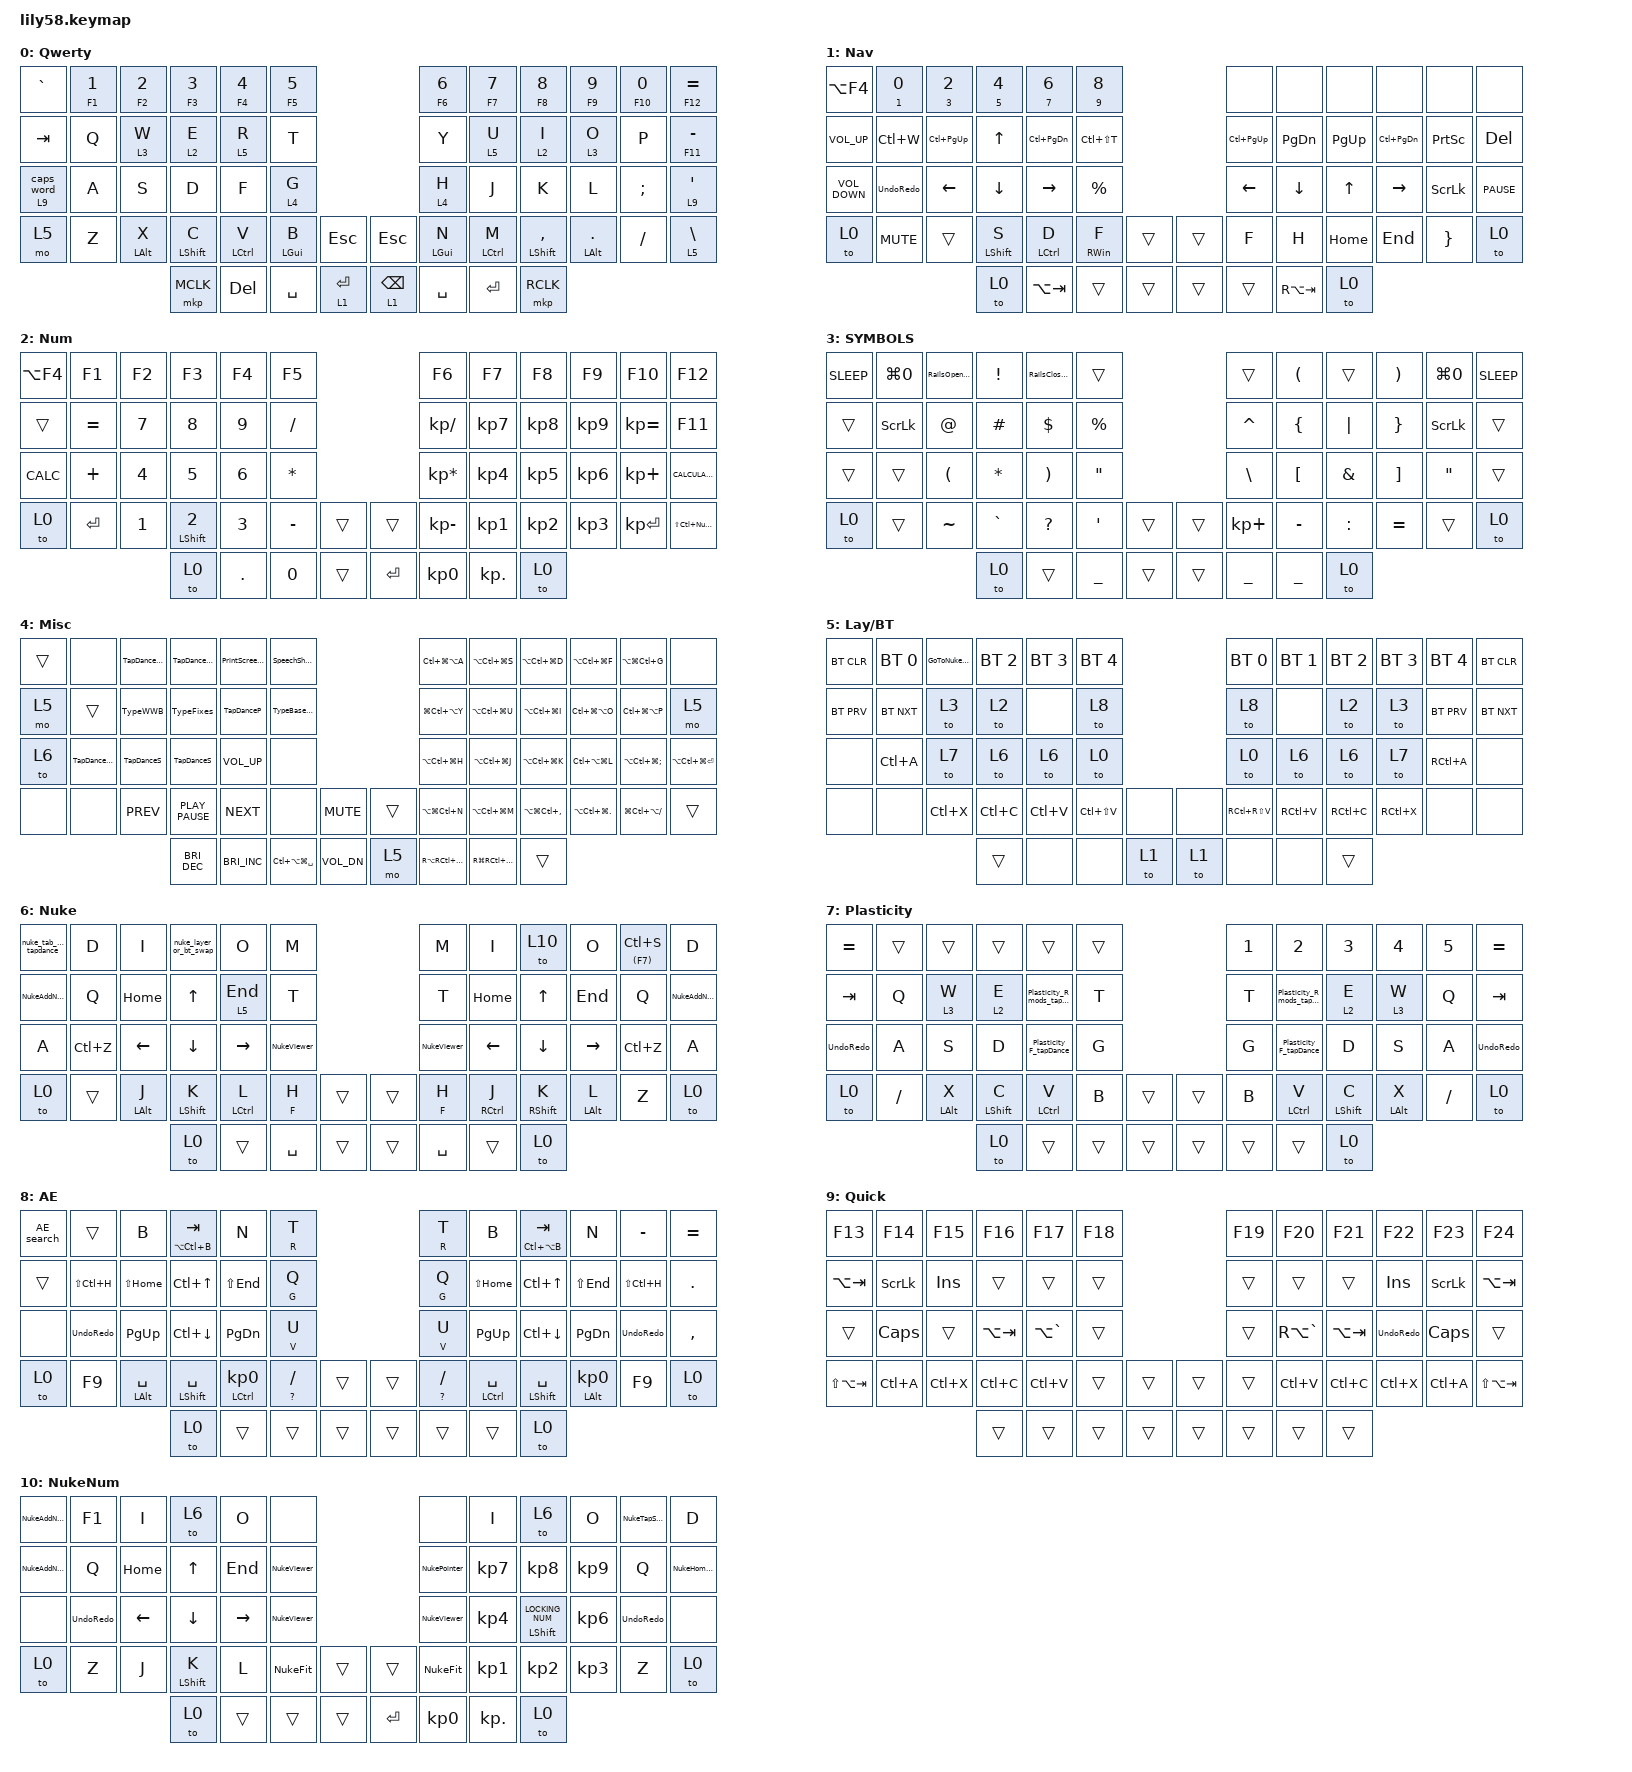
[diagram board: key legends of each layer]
/*
 * Copyright (c) 2020 The ZMK Contributors
 *
 * SPDX-License-Identifier: MIT
 */

#include <behaviors.dtsi>
#include <dt-bindings/zmk/bt.h>
#include <dt-bindings/zmk/keys.h>
#include <dt-bindings/zmk/pointing.h>

&mt {
    flavor = "tap-preferred";
    tapping-term-ms = <150>;
};

/ {
    behaviors {
        DualKey: DualKey {
            compatible = "zmk,behavior-hold-tap";
            label = "DUALKEY";
            bindings = <&mo>, <&kp>;

            #binding-cells = <2>;
            tapping-term-ms = <200>;
            flavor = "tap-preferred";
        };

        DoubleNum01: DoubleNum01 {
            compatible = "zmk,behavior-tap-dance";
            label = "DOUBLENUM01";
            #binding-cells = <0>;
            bindings = <&kp N0>, <&kp NUMBER_1>;
        };

        DoubleNum23: DoubleNum23 {
            compatible = "zmk,behavior-tap-dance";
            label = "DOUBLENUM23";
            #binding-cells = <0>;
            bindings = <&kp NUMBER_2>, <&kp NUMBER_3>;
        };

        TapDanceS: TapDanceS {
            compatible = "zmk,behavior-tap-dance";
            label = "TAPDANCES";
            #binding-cells = <0>;
            bindings = <&TypeString>, <&TypeSyncopotamus>;
        };

        TapDanceEmail: TapDanceEmail {
            compatible = "zmk,behavior-tap-dance";
            label = "TAPDANCEEMAIL";
            #binding-cells = <0>;
            bindings =
                <&TypesNoisycarlosHey>,
                <&TypeCarlosKPEmail>,
                <&TypesAccountsKP>;
        };

        TapDanceD: TapDanceD {
            compatible = "zmk,behavior-tap-dance";
            label = "TAPDANCED";
            #binding-cells = <0>;
            bindings = <&TypeDeletes>, <&TypeDatabase>;
        };

        TapDanceR: TapDanceR {
            compatible = "zmk,behavior-tap-dance";
            label = "TAPDANCER";
            #binding-cells = <0>;
            bindings = <&TypesRails>, <&TypeReturn>, <&TypeRefactor>;
        };

        TapDanceP: TapDanceP {
            compatible = "zmk,behavior-tap-dance";
            label = "TAPDANCEP";
            #binding-cells = <0>;
            bindings = <&TypeUpdates>, <&TypeImplements>;
        };

        TapDanceNoisycarlos: TapDanceNoisycarlos {
            compatible = "zmk,behavior-tap-dance";
            label = "TAPDANCENOISYCARLOS";
            #binding-cells = <0>;
            bindings = <&TypeNoisycarlos>, <&Full_GiteaPath>, <&TypeGithub>;
        };

        UndoRedo: UndoRedo {
            compatible = "zmk,behavior-tap-dance";
            label = "UNDOREDO";
            #binding-cells = <0>;
            bindings = <&kp LC(Z)>, <&kp LC(LS(Z))>, <&kp LC(Y)>;
        };

        DoubleNum45: DoubleNum45 {
            compatible = "zmk,behavior-tap-dance";
            label = "DOUBLENUM45";
            #binding-cells = <0>;
            bindings = <&kp NUMBER_4>, <&kp N5>;
        };

        DoubleNum67: DoubleNum67 {
            compatible = "zmk,behavior-tap-dance";
            label = "DOUBLENUM67";
            #binding-cells = <0>;
            bindings = <&kp NUMBER_6>, <&kp N7>;
        };

        DoubleNum89: DoubleNum89 {
            compatible = "zmk,behavior-tap-dance";
            label = "DOUBLENUM89";
            #binding-cells = <0>;
            bindings = <&kp N8>, <&kp N9>;
        };

        SwitchWindow: SwitchWindow {
            compatible = "zmk,behavior-tap-dance";
            label = "SWITCHWINDOW";
            #binding-cells = <0>;
            bindings = <&kp LEFT_GUI>, <&kp LA(TAB)>;
        };

        NukeViewer: NukeViewer {
            compatible = "zmk,behavior-tap-dance";
            label = "NUKEVIEWER";
            #binding-cells = <0>;
            bindings = <&kp NUMBER_1>, <&kp NUMBER_2>, <&kp NUMBER_3>;
        };

        VimDeleteTapDance: VimDeleteTapDance {
            compatible = "zmk,behavior-tap-dance";
            label = "VIMDELETETAPDANCE";
            #binding-cells = <0>;
            bindings = <&kp LC(X)>, <&VimDeleteLine>;
        };

        VimYank: VimYank {
            compatible = "zmk,behavior-tap-dance";
            label = "VIMYANK";
            #binding-cells = <0>;
            bindings = <&kp LC(C)>, <&VimYankLine>;
        };

        DualLayer: DualLayer {
            compatible = "zmk,behavior-hold-tap";
            label = "DUALLAYER";
            bindings = <&mo>, <&to>;

            #binding-cells = <2>;
            tapping-term-ms = <200>;
            flavor = "tap-preferred";
        };

        VimDeleteHoldDoubleTap: VimDeleteHoldDoubleTap {
            compatible = "zmk,behavior-hold-tap";
            label = "VIMDELETEHOLDDOUBLETAP";
            bindings = <&mo>, <&VimDeleteTapDance>;

            #binding-cells = <2>;
            tapping-term-ms = <200>;
            flavor = "tap-preferred";
        };

        CopyCutTapDance: CopyCutTapDance {
            compatible = "zmk,behavior-tap-dance";
            label = "COPYCUTTAPDANCE";
            #binding-cells = <0>;
            bindings = <&kp LC(C)>, <&kp LC(X)>;
        };

        TapDanceTypeA: TapDanceTypeA {
            compatible = "zmk,behavior-tap-dance";
            label = "TAPDANCETYPEA";
            #binding-cells = <0>;
            bindings = <&TypeAdds>, <&TypesAdjusts>;
        };

        PasteSelectAllTapDance: PasteSelectAllTapDance {
            compatible = "zmk,behavior-tap-dance";
            label = "PASTESELECTALLTAPDANCE";
            #binding-cells = <0>;
            bindings = <&kp LC(V)>, <&kp LC(A)>;
        };

        NumFn1: NumFn1 {
            compatible = "zmk,behavior-tap-dance";
            label = "NUMFN1";
            #binding-cells = <0>;
            bindings = <&kp NUMBER_1>, <&kp F1>;
        };

        NumFn2: NumFn2 {
            compatible = "zmk,behavior-tap-dance";
            label = "NUMFN2";
            #binding-cells = <0>;
            bindings = <&kp NUMBER_2>, <&kp F2>;
        };

        NumFn3: NumFn3 {
            compatible = "zmk,behavior-tap-dance";
            label = "NUMFN3";
            #binding-cells = <0>;
            bindings = <&kp NUMBER_3>, <&kp F3>;
        };

        NumFn4: NumFn4 {
            compatible = "zmk,behavior-tap-dance";
            label = "NUMFN4";
            #binding-cells = <0>;
            bindings = <&kp NUMBER_4>, <&kp F4>;
        };

        NumFn5: NumFn5 {
            compatible = "zmk,behavior-tap-dance";
            label = "NUMFN5";
            #binding-cells = <0>;
            bindings = <&kp NUMBER_5>, <&kp F5>;
        };

        NumFn6: NumFn6 {
            compatible = "zmk,behavior-tap-dance";
            label = "NUMFN6";
            #binding-cells = <0>;
            bindings = <&kp NUMBER_6>, <&kp F6>;
        };

        NumFn7: NumFn7 {
            compatible = "zmk,behavior-tap-dance";
            label = "NUMFN7";
            #binding-cells = <0>;
            bindings = <&kp NUMBER_7>, <&kp F7>;
        };

        NumFn8: NumFn8 {
            compatible = "zmk,behavior-tap-dance";
            label = "NUMFN8";
            #binding-cells = <0>;
            bindings = <&kp NUMBER_8>, <&kp F8>;
        };

        NumFn9: NumFn9 {
            compatible = "zmk,behavior-tap-dance";
            label = "NUMFN9";
            #binding-cells = <0>;
            bindings = <&kp NUMBER_9>, <&kp F9>;
        };

        NumFn10: NumFn10 {
            compatible = "zmk,behavior-tap-dance";
            label = "NUMFN10";
            #binding-cells = <0>;
            bindings = <&kp NUMBER_0>, <&kp F10>;
        };

        NumFn11: NumFn11 {
            compatible = "zmk,behavior-tap-dance";
            label = "NUMFN11";
            #binding-cells = <0>;
            bindings = <&kp MINUS>, <&kp F11>;
        };

        NumFn12: NumFn12 {
            compatible = "zmk,behavior-tap-dance";
            label = "NUMFN12";
            #binding-cells = <0>;
            bindings = <&kp EQUAL>, <&kp F12>;
        };

        RailsOpenTagTap: RailsOpenTagTap {
            compatible = "zmk,behavior-tap-dance";
            label = "RAILSOPENTAGTAP";
            #binding-cells = <0>;
            bindings = <&RailsOpenTag>, <&RailsOpenTagContent>, <&RailsComment>;
        };

        CapsWordOrLayer: CapsWordOrLayer {
            compatible = "zmk,behavior-hold-tap";
            label = "CAPSWORDORLAYER";
            bindings = <&mo>, <&caps_word>;

            #binding-cells = <2>;
            tapping-term-ms = <200>;
        };

        NukePointer: NukePointer {
            compatible = "zmk,behavior-tap-dance";
            label = "NUKEPOINTER";
            #binding-cells = <0>;
            bindings = <&kp S>, <&kp V>, <&kp N>, <&kp C>;
        };

        TapDanceC: TapDanceC {
            compatible = "zmk,behavior-tap-dance";
            label = "TAPDANCEC";
            #binding-cells = <0>;
            bindings = <&TypeCarlos>, <&TypeClear>;
        };

        AEPointer: AEPointer {
            compatible = "zmk,behavior-tap-dance";
            label = "AEPOINTER";
            #binding-cells = <0>;
            bindings = <&kp V>, <&kp G>, <&kp Q>;
        };

        NukeAddNodeDance: NukeAddNodeDance {
            compatible = "zmk,behavior-tap-dance";
            label = "NUKEADDNODEDANCE";
            #binding-cells = <0>;
            bindings = <&kp TAB>, <&NukeAddNode>, <&DoubleTab>;
        };

        NukeTapSaveRender: NukeTapSaveRender {
            compatible = "zmk,behavior-tap-dance";
            label = "NUKETAPSAVERENDER";
            #binding-cells = <0>;
            bindings = <&kp LC(S)>, <&kp F7>;
        };

        NukeFit: NukeFit {
            compatible = "zmk,behavior-tap-dance";
            label = "NUKEFIT";
            #binding-cells = <0>;
            bindings = <&kp H>, <&kp F>;
        };

        NukeHomeEnd: NukeHomeEnd {
            compatible = "zmk,behavior-tap-dance";
            label = "NUKEHOMEEND";
            #binding-cells = <0>;
            bindings = <&kp HOME>, <&kp END>;
        };

        Plasticity_R_mods_tap_dance: Plasticity_R_mods_tap_dance {
            compatible = "zmk,behavior-tap-dance";
            label = "PLASTICITY_R_MODS_TAP_DANCE";
            #binding-cells = <0>;
            bindings = <&kp R>, <&kp LS(R)>, <&kp LS(LA(R))>;
        };

        Plasticity_F_tapDance: Plasticity_F_tapDance {
            compatible = "zmk,behavior-tap-dance";
            label = "PLASTICITY_F_TAPDANCE";
            #binding-cells = <0>;
            bindings = <&kp F>, <&Plasticity_Find>;
        };

        PrintScreenTapDance: PrintScreenTapDance {
            compatible = "zmk,behavior-tap-dance";
            label = "PRINTSCREENTAPDANCE";
            #binding-cells = <0>;
            bindings =
                <&kp PRINTSCREEN>,
                <&kp LC(PRINTSCREEN)>,
                <&kp LA(PRINTSCREEN)>;
        };

        SpeechShortcuts: SpeechShortcuts {
            compatible = "zmk,behavior-tap-dance";
            label = "SPEECHSHORTCUTS";
            #binding-cells = <0>;
            bindings = <&kp LC(LS(F3))>, <&kp LA(LS(F3))>, <&kp LS(LC(F2))>;
        };

        GoToNukeMachineTap: GoToNukeMachineTap {
            compatible = "zmk,behavior-tap-dance";
            label = "GOTONUKEMACHINETAP";
            #binding-cells = <0>;
            bindings = <&bt BT_SEL 1>, <&Goto_Nuke_Machine>;
        };

        nuke_tab_backdrop_tapdance: nuke_tab_backdrop_tapdance {
            compatible = "zmk,behavior-tap-dance";
            label = "NUKE_TAB_BACKDROP_TAPDANCE";
            #binding-cells = <0>;
            bindings = <&NukeAddNode>, <&nuke_backdrop>;
        };

        nuke_layer_or_bt_swap: nuke_layer_or_bt_swap {
            compatible = "zmk,behavior-tap-dance";
            label = "NUKE_LAYER_OR_BT_SWAP";
            #binding-cells = <0>;
            bindings = <&to 10>, <&switch_bt_profile_2>, <&switch_profile_0>;
        };
    };

    macros {
        TypeDeletes: TypeDeletes {
            compatible = "zmk,behavior-macro";
            #binding-cells = <0>;
            bindings = <&none &kp D &kp E &kp L &kp E &kp T &kp E &kp S>;
            label = "TYPEDELETES";
        };

        TypeDatabase: TypeDatabase {
            compatible = "zmk,behavior-macro";
            #binding-cells = <0>;
            bindings = <&none &kp D &kp A &kp T &kp A &kp B &kp A &kp S &kp E>;
            label = "TYPEDATABASE";
        };

        TypeString: TypeString {
            compatible = "zmk,behavior-macro";
            #binding-cells = <0>;
            bindings = <&none &kp S &kp T &kp R &kp I &kp N &kp G>;
            label = "TYPESTRING";
        };

        TypeSyncopotamus: TypeSyncopotamus {
            compatible = "zmk,behavior-macro";
            #binding-cells = <0>;
            bindings = <&none &kp RS(S) &kp Y &kp N &kp C &kp O &kp P &kp O &kp T &kp A &kp M &kp U &kp S>;
            label = "TYPESYNCOPOTAMUS";
        };

        TypeReturn: TypeReturn {
            compatible = "zmk,behavior-macro";
            #binding-cells = <0>;
            bindings = <&none &kp R &kp E &kp T &kp U &kp R &kp N>;
            label = "TYPERETURN";
        };

        TypeRefactor: TypeRefactor {
            compatible = "zmk,behavior-macro";
            #binding-cells = <0>;
            bindings = <&none &kp R &kp E &kp F &kp A &kp C &kp T &kp O &kp R>;
            label = "TYPEREFACTOR";
        };

        TypeAdds: TypeAdds {
            compatible = "zmk,behavior-macro";
            #binding-cells = <0>;
            bindings = <&none &kp A &kp D &kp D &kp S>;
            label = "TYPEADDS";
        };

        TypeWWB: TypeWWB {
            compatible = "zmk,behavior-macro";
            #binding-cells = <0>;
            bindings = <&none &kp LS(W) &kp LS(W) &kp LS(B) &kp UNDER>;
            label = "TYPEWWB";
        };

        TypeFixes: TypeFixes {
            compatible = "zmk,behavior-macro";
            #binding-cells = <0>;
            bindings = <&none &kp F &kp I &kp X &kp E &kp S>;
            label = "TYPEFIXES";
        };

        TypeImplements: TypeImplements {
            compatible = "zmk,behavior-macro";
            #binding-cells = <0>;
            bindings = <&none &kp I &kp M &kp P &kp L &kp E &kp M &kp E &kp N &kp T &kp S>;
            label = "TYPEIMPLEMENTS";
        };

        TypeUpdates: TypeUpdates {
            compatible = "zmk,behavior-macro";
            #binding-cells = <0>;
            bindings = <&none &kp U &kp P &kp D &kp A &kp T &kp E &kp S>;
            label = "TYPEUPDATES";
        };

        TypeBasecamp: TypeBasecamp {
            compatible = "zmk,behavior-macro";
            #binding-cells = <0>;
            bindings = <&none &kp LS(B) &kp A &kp S &kp E &kp C &kp A &kp M &kp P>;
            label = "TYPEBASECAMP";
        };

        TypesNoisycarlosHey: TypesNoisycarlosHey {
            compatible = "zmk,behavior-macro";
            #binding-cells = <0>;
            bindings = <&none &kp N &kp O &kp I &kp S &kp Y &kp C &kp A &kp R &kp L &kp O &kp S &kp AT &kp H &kp E &kp Y &kp DOT &kp C &kp O &kp M>;
            label = "TYPESNOISYCARLOSHEY";
        };

        TypeCarlosKPEmail: TypeCarlosKPEmail {
            compatible = "zmk,behavior-macro";
            #binding-cells = <0>;
            bindings = <&none &kp C &kp A &kp R &kp L &kp O &kp S &kp AT &kp K &kp I &kp N &kp E &kp T &kp I &kp C &kp P &kp O &kp R &kp T &kp A &kp L &kp DOT &kp C &kp O &kp M>;
            label = "TYPECARLOSKPEMAIL";
        };

        TypeNoisycarlos: TypeNoisycarlos {
            compatible = "zmk,behavior-macro";
            #binding-cells = <0>;
            bindings = <&kp N &kp O &kp I &kp S &kp Y &kp C &kp A &kp R &kp L &kp O &kp S>;
            label = "TYPENOISYCARLOS";
        };

        TypeGithub: TypeGithub {
            compatible = "zmk,behavior-macro";
            #binding-cells = <0>;
            bindings = <&kp H &kp T &kp T &kp P &kp S &kp COLON &kp FSLH &kp FSLH &kp G &kp I &kp T &kp H &kp U &kp B &kp DOT &kp C &kp O &kp M &kp FSLH &kp N &kp O &kp I &kp S &kp Y &kp C &kp A &kp R &kp L &kp O &kp S &kp FSLH>;
            label = "TYPEGITHUB";
        };

        TypeMoves: TypeMoves {
            compatible = "zmk,behavior-macro";
            #binding-cells = <0>;
            bindings = <&kp M &kp O &kp V &kp E &kp S>;
            label = "TYPEMOVES";
        };

        NukeAddNode: NukeAddNode {
            compatible = "zmk,behavior-macro";
            #binding-cells = <0>;
            bindings = <&kp TAB &to 0>;
            label = "NukeAddNode";
        };

        VimInsertNextChar: VimInsertNextChar {
            compatible = "zmk,behavior-macro";
            #binding-cells = <0>;
            bindings = <&kp RIGHT &to 0>;
            label = "VIMINSERTNEXTCHAR";
        };

        VimInsertNextLine: VimInsertNextLine {
            compatible = "zmk,behavior-macro";
            #binding-cells = <0>;
            bindings = <&kp END &kp ENTER &to 0>;
            label = "VIMINSERTNEXTLINE";
        };

        VimSearch: VimSearch {
            compatible = "zmk,behavior-macro";
            #binding-cells = <0>;
            bindings = <&kp LC(F) &to 0>;
            label = "VIMSEARCH";
        };

        VimYankLine: VimYankLine {
            compatible = "zmk,behavior-macro";
            #binding-cells = <0>;
            bindings = <&kp HOME &kp LS(END) &kp LC(C)>;
            label = "VIMYANKLINE";
        };

        VimDeleteLine: VimDeleteLine {
            compatible = "zmk,behavior-macro";
            #binding-cells = <0>;
            bindings = <&kp HOME &kp LS(END) &kp LC(X)>;
            label = "VIMDELETELINE";
        };

        VimInsertAtLineEnd: VimInsertAtLineEnd {
            compatible = "zmk,behavior-macro";
            #binding-cells = <0>;
            bindings = <&kp END &to 0>;
            label = "VIMINSERTATLINEEND";
        };

        VimChangeToLineEnd: VimChangeToLineEnd {
            compatible = "zmk,behavior-macro";
            #binding-cells = <0>;
            bindings = <&kp LS(END) &kp BACKSPACE &to 0>;
            label = "VIMCHANGETOLINEEND";
        };

        VimInsertAtLineStart: VimInsertAtLineStart {
            compatible = "zmk,behavior-macro";
            #binding-cells = <0>;
            bindings = <&kp HOME &to 0>;
            label = "VIMINSERTATLINESTART";
        };

        VimInsertLineAbove: VimInsertLineAbove {
            compatible = "zmk,behavior-macro";
            #binding-cells = <0>;
            bindings = <&kp HOME &kp ENTER &kp UP_ARROW &to 0>;
            label = "VIMINSERTLINEABOVE";
        };

        VimYankToLineEnd: VimYankToLineEnd {
            compatible = "zmk,behavior-macro";
            #binding-cells = <0>;
            bindings = <&kp LS(END) &kp LC(C) &kp LEFT>;
            label = "VIMYANKTOLINEEND";
        };

        VimChangeLine: VimChangeLine {
            compatible = "zmk,behavior-macro";
            #binding-cells = <0>;
            bindings = <&kp HOME &kp LS(END) &kp LC(X) &to 0>;
            label = "VIMCHANGELINE";
        };

        VimSelectLine: VimSelectLine {
            compatible = "zmk,behavior-macro";
            #binding-cells = <0>;
            bindings = <&kp END &kp LS(HOME)>;
            label = "VIMSELECTLINE";
        };

        TypesAdjusts: TypesAdjusts {
            compatible = "zmk,behavior-macro";
            #binding-cells = <0>;
            bindings = <&none &kp A &kp D &kp J &kp U &kp S &kp T &kp S>;
            label = "TYPESADJUSTS";
        };

        TypesRails: TypesRails {
            compatible = "zmk,behavior-macro";
            #binding-cells = <0>;
            bindings = <&kp R &kp A &kp I &kp L &kp S &kp SPACE>;
            label = "TYPESRAILS";
        };

        TypesRailsDb: TypesRailsDb {
            compatible = "zmk,behavior-macro";
            #binding-cells = <0>;
            bindings = <&kp R &kp A &kp I &kp L &kp S &kp SPACE &kp D &kp B &kp COLON>;
            label = "TYPESRAILSDB";
        };

        RailsOpenTag: rails_opentag {
            compatible = "zmk,behavior-macro";
            #binding-cells = <0>;
            bindings = <&kp LT &kp PRCNT &kp SPACE>;
            label = "RAILS_OPENTAG";
        };

        RailsCloseTag: rails_closetag {
            compatible = "zmk,behavior-macro";
            #binding-cells = <0>;
            bindings = <&kp SPACE &kp PRCNT &kp GT>;
            label = "RAILS_CLOSETAG";
        };

        RailsOpenTagContent: RailsOpenTagContent {
            compatible = "zmk,behavior-macro";
            #binding-cells = <0>;
            bindings = <&kp LT &kp PRCNT &kp EQUAL &kp SPACE>;
            label = "RAILSOPENTAGCONTENT";
        };

        TypeCarlos: TypeCarlos {
            compatible = "zmk,behavior-macro";
            #binding-cells = <0>;
            bindings = <&kp LS(C) &kp A &kp R &kp L &kp O &kp S>;
            label = "TYPECARLOS";
        };

        TypeClear: TypeClear {
            compatible = "zmk,behavior-macro";
            #binding-cells = <0>;
            bindings = <&kp C &kp L &kp E &kp A &kp R>;
            label = "TYPECLEAR";
        };

        TypesAccountsKP: TypesAccountsKP {
            compatible = "zmk,behavior-macro";
            #binding-cells = <0>;
            bindings = <&kp A &kp C &kp C &kp O &kp U &kp N &kp T &kp S &kp AT &kp K &kp I &kp N &kp E &kp T &kp I &kp C &kp P &kp O &kp R &kp T &kp A &kp L &kp DOT &kp C &kp O &kp M>;
            label = "TYPESACCOUNTSKP";
        };

        types_gitea_path: types_gitea_path {
            compatible = "zmk,behavior-macro";
            #binding-cells = <0>;
            bindings = <&kp H &kp T &kp T &kp P &kp S &kp COLON &kp FSLH &kp FSLH &kp G &kp I &kp T &kp DOT &kp N &kp O &kp I &kp S &kp Y &kp S &kp E &kp R &kp V &kp E &kp R &kp DOT &kp C &kp C &kp FSLH>;
            label = "TYPES_GITEA_PATH";
        };

        Full_GiteaPath: Full_GiteaPath {
            compatible = "zmk,behavior-macro";
            #binding-cells = <0>;
            bindings = <&types_gitea_path>, <&macro_press>, <&TypeNoisycarlos>;

            label = "FULL_GITEAPATH";
        };

        RailsComment: RailsComment {
            compatible = "zmk,behavior-macro";
            #binding-cells = <0>;
            bindings = <&kp LT &kp PRCNT &kp HASH &kp SPACE>;
            label = "RAILSCOMMENT";
        };

        DoubleTab: DoubleTab {
            compatible = "zmk,behavior-macro";
            #binding-cells = <0>;
            bindings = <&kp TAB &kp TAB>;
            label = "DOUBLETAB";
        };

        Plasticity_Find: Plasticity_Find {
            compatible = "zmk,behavior-macro";
            #binding-cells = <0>;
            bindings = <&kp F &to 0>;
            label = "PLASTICITY_FIND";
        };

        NukeKeymix: NukeKeymix {
            compatible = "zmk,behavior-macro";
            #binding-cells = <0>;
            bindings = <&kp TAB &kp K &kp E &kp Y &kp M &kp I &kp X &kp ENTER>;
            label = "NUKEKEYMIX";
        };

        Type_ReadBarn: Type_ReadBarn {
            compatible = "zmk,behavior-macro";
            #binding-cells = <0>;
            bindings = <&none &kp LS(R) &kp E &kp A &kp D &kp LS(B) &kp A &kp R &kp N>;
            label = "TYPE_READBARN";
        };

        Goto_Nuke_Machine: Goto_Nuke_Machine {
            compatible = "zmk,behavior-macro";
            #binding-cells = <0>;
            bindings = <&bt BT_SEL 1 &to 6>;
            label = "GOTO_NUKE_MACHINE";
        };

        nuke_backdrop: nuke_backdrop {
            compatible = "zmk,behavior-macro";
            #binding-cells = <0>;
            bindings = <&kp TAB &kp B &kp A &kp C &kp K &kp D &kp R &kp O &kp P &kp RET>;
            label = "NUKE_BACKDROP";
        };

        switch_bt_profile_2: switch_bt_profile_2 {
            compatible = "zmk,behavior-macro";
            #binding-cells = <0>;
            bindings = <&to 0 &bt BT_SEL 2>;
            label = "SWITCH_BT_PROFILE_2";
        };

        switch_profile_0: switch_profile_0 {
            compatible = "zmk,behavior-macro";
            #binding-cells = <0>;
            bindings = <&to 0 &bt BT_SEL 0>;
            label = "SWITCH_PROFILE_0";
        };

        AE_search: AE_search {
            compatible = "zmk,behavior-macro";
            #binding-cells = <0>;
            bindings = <&kp LC(N5) &kp LC(N5) &kp F &to 0>;
            label = "AE_SEARCH";
            wait-ms = <500>;
        };

        types_email_carlosaldana: types_email_carlosaldana {
            compatible = "zmk,behavior-macro";
            #binding-cells = <0>;
            bindings = <&none &kp C &kp A &kp R &kp L &kp O &kp S &kp AT &kp C &kp A &kp R &kp L &kp O &kp S &kp A &kp L &kp D &kp A &kp N &kp A &kp DOT &kp C &kp O &kp M>;
            label = "TYPES_EMAIL_CARLOSALDANA";
        };

        types_kp_domain: types_kp_domain {
            compatible = "zmk,behavior-macro";
            #binding-cells = <0>;
            bindings = <&kp K &kp I &kp N &kp E &kp T &kp I &kp C &kp P &kp O &kp R &kp T &kp A &kp L &kp DOT &kp C &kp O &kp M>;
            label = "TYPES_KP_DOMAIN";
        };

        types_begins: types_begins {
            compatible = "zmk,behavior-macro";
            #binding-cells = <0>;
            bindings = <&none &kp B &kp E &kp G &kp I &kp N &kp S>;
            label = "TYPES_BEGINS";
        };

        types_stats: types_stats {
            compatible = "zmk,behavior-macro";
            #binding-cells = <0>;
            bindings = <&kp S &kp T &kp A &kp T &kp S>;
            label = "TYPES_STATS";
        };

        NukeCrop: NukeCrop {
            compatible = "zmk,behavior-macro";
            #binding-cells = <0>;
            bindings = <&kp TAB &kp C &kp R &kp O &kp P &kp ENTER>;
            label = "NUKECROP";
        };

        NukeDefocus: NukeDefocus {
            compatible = "zmk,behavior-macro";
            #binding-cells = <0>;
            bindings = <&kp TAB &kp D &kp E &kp F &kp O &kp C &kp U &kp S &kp ENTER>;
            label = "NUKEDEFOCUS";
        };

        NukeTracker: NukeTracker {
            compatible = "zmk,behavior-macro";
            #binding-cells = <0>;
            bindings = <&kp TAB &kp T &kp R &kp A &kp C &kp K &kp E &kp R>;
            label = "NUKETRACKER";
        };

        NukePremult: NukePremult {
            compatible = "zmk,behavior-macro";
            #binding-cells = <0>;
            bindings = <&kp TAB &kp P &kp R &kp E &kp M &kp U &kp L &kp T &kp ENTER>;
            label = "NUKEPREMULT";
        };

        NukeFrameHold: NukeFrameHold {
            compatible = "zmk,behavior-macro";
            #binding-cells = <0>;
            bindings = <&kp TAB &kp F &kp R &kp A &kp M &kp E &kp H &kp O &kp L &kp D &kp ENTER>;
            label = "NUKEFRAMEHOLD";
        };

        NukeSwitch: NukeSwitch {
            compatible = "zmk,behavior-macro";
            #binding-cells = <0>;
            bindings = <&kp TAB &kp S &kp W &kp I &kp T &kp C &kp H &kp ENTER>;
            label = "NUKESWITCH";
        };

        NukeBlend: NukeBlend {
            compatible = "zmk,behavior-macro";
            #binding-cells = <0>;
            bindings = <&kp TAB &kp B &kp L &kp E &kp N &kp D &kp ENTER>;
            label = "NUKEBLEND";
        };
    };

    combos {
        compatible = "zmk,combos";

        WindowSwitcherL {
            bindings = <&kp LG(F12)>;
            key-positions = <53 42>;
        };

        WindowSwitcherR {
            bindings = <&kp LG(F12)>;
            key-positions = <43 54>;
        };

        NukeNextKeyframe {
            bindings = <&kp LA(RIGHT)>;
            key-positions = <32 33>;
            layers = <6>;
        };

        NukePrevKeyframe {
            bindings = <&kp LA(LEFT_ARROW)>;
            key-positions = <32 31>;
            layers = <6>;
        };

        NukePrevKeyframeL {
            bindings = <&kp LA(LEFT_ARROW)>;
            key-positions = <27 26>;
            layers = <6 10>;
        };

        NukeNextKeyframeL {
            bindings = <&kp LA(RIGHT)>;
            key-positions = <27 28>;
            layers = <6 10>;
        };

        AE_NextKeyframeL {
            bindings = <&kp K>;
            key-positions = <27 28>;
            layers = <8>;
        };

        AE_NextKeyframe_R {
            bindings = <&kp K>;
            key-positions = <32 33>;
            layers = <8>;
        };

        AE_PrevKeyframeL {
            bindings = <&kp J>;
            key-positions = <27 26>;
            layers = <8>;
        };

        AE_PrevKeyframeR {
            bindings = <&kp J>;
            key-positions = <31 32>;
            layers = <8>;
        };

        NukeDuplicateL {
            bindings = <&kp LA(C)>;
            key-positions = <38 39>;
            layers = <6 10>;
        };

        NukeDuplicateR {
            bindings = <&kp RA(C)>;
            key-positions = <46 47>;
            layers = <6>;
        };

        NukeCreateReferenceR {
            bindings = <&kp RA(K)>;
            key-positions = <45 47>;
            layers = <6>;
        };

        NukeCreateReferenceL {
            bindings = <&kp LA(K)>;
            key-positions = <40 38>;
            layers = <6>;
        };

        WindowSwitcher {
            bindings = <&kp LG(F12)>;
            key-positions = <52 55>;
        };

        Chord_Return {
            bindings = <&TypeReturn>;
            key-positions = <16 17 44>;
            layers = <0>;
        };

        Chord_Moves {
            bindings = <&TypeMoves>;
            key-positions = <45 40 26>;
            layers = <0>;
        };

        Chord_Updates {
            bindings = <&TypeUpdates>;
            key-positions = <27 19 22>;
            layers = <0>;
        };

        Chord_Deletes {
            bindings = <&TypeDeletes>;
            key-positions = <27 33 17>;
            layers = <0>;
        };

        Chord_Adds {
            bindings = <&TypeAdds>;
            key-positions = <25 26 27>;
            layers = <0>;
        };

        Chord_Adjusts {
            bindings = <&TypesAdjusts>;
            key-positions = <25 27 31>;
            layers = <0>;
        };

        Chord_Fixes {
            bindings = <&TypeFixes>;
            key-positions = <28 38 20>;
            layers = <0>;
        };

        Chord_string {
            bindings = <&TypeString>;
            key-positions = <26 17 44>;
            layers = <0>;
        };

        Chord_Implements {
            bindings = <&TypeImplements>;
            key-positions = <20 15 45>;
            layers = <0>;
        };

        chord_kp_domain {
            bindings = <&types_kp_domain>;
            key-positions = <32 22 14>;
            layers = <0>;
        };

        chord_email_carlosaldana {
            bindings = <&types_email_carlosaldana>;
            key-positions = <39 25 44>;
            layers = <0>;
        };

        chord_begins {
            bindings = <&types_begins>;
            key-positions = <20 41 29>;
            layers = <0>;
        };

        Chord_stats {
            bindings = <&types_stats>;
            key-positions = <26 25 17>;
            layers = <0>;
        };

        NukeDotL {
            bindings = <&kp PERIOD>;
            key-positions = <5 4>;
            layers = <6>;
        };

        NukeDotR {
            bindings = <&kp PERIOD>;
            key-positions = <6 7>;
            layers = <6>;
        };

        NukeKeymixR {
            bindings = <&NukeKeymix>;
            key-positions = <6 7 8>;
            layers = <6>;
        };

        NukeKeymixL {
            bindings = <&NukeKeymix>;
            key-positions = <5 4 3>;
            layers = <6>;
        };

        NukeRotoR {
            bindings = <&kp O>;
            key-positions = <20 21>;
            layers = <6>;
        };

        NukeRotoL {
            bindings = <&kp O>;
            key-positions = <14 15>;
            layers = <6>;
        };

        NukePaintL {
            bindings = <&kp P>;
            key-positions = <15 16>;
            layers = <6>;
        };

        NukePaintR {
            bindings = <&kp P>;
            key-positions = <20 19>;
            layers = <6>;
        };

        NukeGradeR {
            bindings = <&kp G>;
            key-positions = <30 31>;
            layers = <6>;
        };

        NukeGradeL {
            bindings = <&kp G>;
            key-positions = <29 28>;
            layers = <6>;
        };

        NukeBlurL {
            bindings = <&kp B>;
            key-positions = <41 40>;
            layers = <6>;
        };

        NukeBlurR {
            bindings = <&kp B>;
            key-positions = <44 45>;
            layers = <6>;
        };

        NukeRKeyL {
            bindings = <&kp R>;
            key-positions = <16 17>;
            layers = <6>;
        };

        NukeRKeyR {
            bindings = <&kp R>;
            key-positions = <18 19>;
            layers = <6>;
        };

        NukeColorR {
            bindings = <&kp C>;
            key-positions = <30 46>;
            layers = <6>;
        };

        NukeColorL {
            bindings = <&kp C>;
            key-positions = <29 39>;
            layers = <6>;
        };

        NukeRedoL {
            bindings = <&kp LC(LS(Z))>;
            key-positions = <24 25>;
            layers = <6>;
        };

        NukeRedoR {
            bindings = <&kp LC(LS(Z))>;
            key-positions = <35 34>;
            layers = <6>;
        };

        NukeViewer1L {
            bindings = <&kp NUMBER_1>;
            key-positions = <3 4>;
            layers = <6>;
        };

        NukeViewer2L {
            bindings = <&kp NUMBER_2>;
            key-positions = <3 2>;
            layers = <6>;
        };

        NukeViewer3L {
            bindings = <&kp NUMBER_3>;
            key-positions = <2 1>;
            layers = <6>;
        };

        NukeViewer1R {
            bindings = <&kp NUMBER_1>;
            key-positions = <7 8>;
            layers = <6>;
        };

        NukeViewer2R {
            bindings = <&kp NUMBER_2>;
            key-positions = <8 9>;
            layers = <6>;
        };

        NukeViewer3R {
            bindings = <&kp NUMBER_3>;
            key-positions = <9 10>;
            layers = <6>;
        };

        NukeTrackerL {
            bindings = <&NukeTracker>;
            key-positions = <17 25>;
            layers = <6>;
        };

        NukeTrackerR {
            bindings = <&NukeTracker>;
            key-positions = <18 34>;
            layers = <6>;
        };

        NukeFrameHoldR {
            bindings = <&NukeFrameHold>;
            key-positions = <18 20 19>;
            layers = <6>;
        };

        NukeFrameHoldL {
            bindings = <&NukeFrameHold>;
            key-positions = <17 16 15>;
            layers = <6>;
        };

        NukeSwitchL {
            bindings = <&NukeSwitch>;
            key-positions = <17 4>;
            layers = <6>;
        };

        NukeSwitchR {
            bindings = <&NukeSwitch>;
            key-positions = <18 7>;
            layers = <6>;
        };

        NukePremultR {
            bindings = <&NukePremult>;
            key-positions = <22 21 20>;
            layers = <6>;
        };

        NukePremultL {
            bindings = <&NukePremult>;
            key-positions = <13 14 15>;
            layers = <6>;
        };

        NukeBlendL {
            bindings = <&NukeBlend>;
            key-positions = <17 5 4>;
            layers = <6>;
        };

        NukeBlendR {
            bindings = <&NukeBlend>;
            key-positions = <18 6 7>;
            layers = <6>;
        };

        NukeDefocusR {
            bindings = <&NukeDefocus>;
            key-positions = <44 45 46>;
            layers = <6>;
        };

        NukeDefocusL {
            bindings = <&NukeDefocus>;
            key-positions = <39 40 41>;
            layers = <6>;
        };

        NukeCropR {
            bindings = <&NukeCrop>;
            key-positions = <30 34>;
            layers = <6>;
        };

        NukeCropL {
            bindings = <&NukeCrop>;
            key-positions = <25 29>;
            layers = <6>;
        };
    };

    keymap {
        compatible = "zmk,keymap";

        Qwerty {
            display-name = "Qwerty";
            bindings = <
&kp GRAVE             &mt F1 NUMBER_1  &mt F2 NUMBER_2  &mt F3 NUMBER_3   &mt F4 NUMBER_4  &mt F5 NUMBER_5                                            &mt F6 NUMBER_6  &mt F7 N7     &mt F8 N8         &mt F9 N9            &mt F10 N0  &mt F12 EQUAL
&kp TAB               &kp Q            &DualKey 3 W     &DualKey 2 E      &DualKey 5 R     &kp T                                                      &kp Y            &DualKey 5 U  &DualKey 2 I      &DualKey 3 O         &kp P       &mt F11 MINUS
&CapsWordOrLayer 9 0  &kp A            &kp S            &kp D             &kp F            &DualKey 4 G                                               &DualKey 4 H     &kp J         &kp K             &kp L                &kp SEMI    &DualKey 9 APOS
&mo 5                 &kp Z            &mt LEFT_ALT X   &mt LEFT_SHIFT C  &mt LCTRL V      &mt LEFT_GUI B   &kp ESC             &kp ESC               &mt LEFT_GUI N   &mt LCTRL M   &mt LSHIFT COMMA  &mt LEFT_ALT PERIOD  &kp FSLH    &DualKey 5 BACKSLASH
                                                        &mkp MCLK         &kp DELETE       &kp SPACE        &DualKey 1 ENTER    &DualKey 1 BACKSPACE  &kp SPACE        &kp ENTER     &mkp RCLK
            >;
        };

        Navigation {
            // ------------------------------------------------------------------------------------------------------------
            // | BTCLR | BT1 | BT2 |  BT3 |  BT4 |  BT5 |                   |      |       |       |      |       |       |
            // |  F1   |  F2 |  F3 |  F4  |  F5  |  F6  |                   |  F7  |  F8   |  F9   |  F10 |  F11  |  F12  |
            // |   `   |  !  |  @  |  #   |  $   |  %   |                   |  ^   |  &    |  *    |  (   |   )   |   ~   |
            // |       |     |     |      |      |      |        |  |       |      |  _    |  +    |  {   |   }   |  "|"  |
            //                     |      |      |      |        |  |       |      |       |       |

            display-name = "Nav";
            bindings = <
&kp LA(F4)         &mt NUMBER_1 N0  &mt NUMBER_3 NUMBER_2  &mt N5 NUMBER_4   &mt N7 NUMBER_6  &mt N9 N8                          &none          &none        &none      &none          &none            &none
&kp C_VOLUME_UP    &kp LC(W)        &kp LC(PG_UP)          &kp UP            &kp LC(PG_DN)    &kp LC(LS(T))                      &kp LC(PG_UP)  &kp PG_DN    &kp PG_UP  &kp LC(PG_DN)  &kp PRINTSCREEN  &kp DELETE
&kp C_VOLUME_DOWN  &UndoRedo        &kp LEFT               &kp DOWN          &kp RIGHT        &kp PRCNT                          &kp LEFT       &kp DOWN     &kp UP     &kp RIGHT      &kp SCROLLLOCK   &kp C_PAUSE
&to 0              &kp K_MUTE       &trans                 &mt LEFT_SHIFT S  &mt LCTRL D      &mt RIGHT_WIN F  &trans    &trans  &kp F          &kp H        &kp HOME   &kp END        &kp RBRC         &to 0
                                                           &to 0             &kp LA(TAB)      &trans           &trans    &trans  &trans         &kp RA(TAB)  &to 0
            >;
        };

        Numbers {
            // ------------------------------------------------------------------------------------------------------------
            // |       |     |     |      |      |      |                   |      |       |       |      |       |       |
            // |   `   |  1  |  2  |  3   |  4   |  5   |                   |  6   |   7   |   8   |  9   |   0   |       |
            // |   F1  |  F2 |  F3 |  F4  |  F5  |  F6  |                   |      |   <-  |   v   |  ^   |  ->   |       |
            // |   F7  |  F8 |  F9 |  F10 |  F11 |  F12 |        |  |       |  +   |   -   |   =   |  [   |   ]   |   \   |
            //                     |      |      |      |        |  |       |      |       |       |

            display-name = "Num";
            bindings = <
&kp LA(F4)  &kp F1     &kp F2  &kp F3             &kp F4      &kp F5                          &kp F6           &kp F7           &kp F8           &kp F9           &kp F10       &kp F12
&trans      &kp EQUAL  &kp N7  &kp N8             &kp N9      &kp FSLH                        &kp KP_DIVIDE    &kp KP_NUMBER_7  &kp KP_NUMBER_8  &kp KP_NUMBER_9  &kp KP_EQUAL  &kp F11
&kp K_CALC  &kp PLUS   &kp N4  &kp N5             &kp N6      &kp STAR                        &kp KP_ASTERISK  &kp KP_NUMBER_4  &kp KP_NUMBER_5  &kp KP_NUMBER_6  &kp KP_PLUS   &kp K_CALCULATOR
&to 0       &kp RET    &kp N1  &mt LEFT_SHIFT N2  &kp N3      &kp MINUS  &trans    &trans     &kp KP_SUBTRACT  &kp KP_NUMBER_1  &kp KP_NUMBER_2  &kp KP_NUMBER_3  &kp KP_ENTER  &kp LS(LC(KP_NUMLOCK))
                               &to 0              &kp PERIOD  &kp N0     &trans    &kp ENTER  &kp KP_NUMBER_0  &kp KP_DOT       &to 0
            >;
        };

        Symbols {
            bindings = <
&kp K_SLEEP  &kp LG(N0)      &RailsOpenTagTap      &kp EXCL   &RailsCloseTag         &trans                               &trans         &kp LEFT_PARENTHESIS  &trans         &kp RIGHT_PARENTHESIS  &kp LG(N0)         &kp K_SLEEP
&trans       &kp SCROLLLOCK  &kp AT_SIGN           &kp HASH   &kp DOLLAR             &kp PERCENT                          &kp CARET      &kp LEFT_BRACE        &kp PIPE       &kp RIGHT_BRACE        &kp SCROLLLOCK     &trans
&trans       &trans          &kp LEFT_PARENTHESIS  &kp STAR   &kp RIGHT_PARENTHESIS  &kp DOUBLE_QUOTES                    &kp BACKSLASH  &kp LEFT_BRACKET      &kp AMPERSAND  &kp RIGHT_BRACKET      &kp DOUBLE_QUOTES  &trans
&to 0        &trans          &kp TILDE             &kp GRAVE  &kp QUESTION           &kp SQT            &trans    &trans  &kp KP_PLUS    &kp MINUS             &kp COLON      &kp EQUAL              &trans             &to 0
                                                   &to 0      &trans                 &kp UNDER          &trans    &trans  &kp UNDER      &kp UNDER             &to 0
            >;

            label = "SYMBOLS";
        };

        Misc {
            bindings = <
&trans  &none           &TapDanceEmail  &TapDanceNoisycarlos  &PrintScreenTapDance  &SpeechShortcuts                               &kp LC(LG(LA(A)))      &kp LA(LC(LG(S)))      &kp LA(LC(LG(D)))      &kp LA(LC(LG(F)))    &kp LA(LG(LC(G)))          &none
&mo 5   &trans          &TypeWWB        &TypeFixes            &TapDanceP            &TypeBasecamp                                  &kp LG(LC(LA(Y)))      &kp LA(LC(LG(U)))      &kp LA(LC(LG(I)))      &kp LC(LG(LA(O)))    &kp LC(LG(LA(P)))          &mo 5
&to 6   &TapDanceTypeA  &TapDanceS      &TapDanceS            &kp C_VOLUME_UP       &none                                          &kp LA(LC(LG(H)))      &kp LA(LC(LG(J)))      &kp LA(LC(LG(K)))      &kp LC(LA(LG(L)))    &kp LA(LC(LG(SEMICOLON)))  &kp LA(LC(LG(ENTER)))
&none   &none           &kp K_PREV      &kp K_PLAY_PAUSE      &kp K_NEXT            &none                  &kp K_MUTE      &trans  &kp LA(LG(LC(N)))      &kp LA(LC(LG(M)))      &kp LA(LG(LC(COMMA)))  &kp LA(LC(LG(DOT)))  &kp LG(LC(LA(FSLH)))       &trans
                                        &kp C_BRIGHTNESS_DEC  &kp C_BRIGHTNESS_INC  &kp LC(LA(LG(SPACE)))  &kp C_VOL_DN    &mo 5   &kp RA(RC(RG(SPACE)))  &kp RG(RC(RA(SPACE)))  &trans
            >;

            label = "Misc";
        };

        Layers {
            bindings = <
&bt BT_CLR  &bt BT_SEL 0  &GoToNukeMachineTap  &bt BT_SEL 2  &bt BT_SEL 3  &bt BT_SEL 4                   &bt BT_SEL 0   &bt BT_SEL 1  &bt BT_SEL 2  &bt BT_SEL 3  &bt BT_SEL 4  &bt BT_CLR
&bt BT_PRV  &bt BT_NXT    &to 3                &to 2         &none         &to 8                          &to 8          &none         &to 2         &to 3         &bt BT_PRV    &bt BT_NXT
&none       &kp LC(A)     &to 7                &to 6         &to 6         &to 0                          &to 0          &to 6         &to 6         &to 7         &kp RC(A)     &none
&none       &none         &kp LC(X)            &kp LC(C)     &kp LC(V)     &kp LC(LS(V))  &none    &none  &kp RC(RS(V))  &kp RC(V)     &kp RC(C)     &kp RC(X)     &none         &none
                                               &trans        &none         &none          &to 1    &to 1  &none          &none         &trans
            >;

            label = "Lay/BT";
        };

        Nuke {
            bindings = <
&nuke_tab_backdrop_tapdance  &kp D      &kp I           &nuke_layer_or_bt_swap  &kp O           &kp M                          &kp M        &kp I                &to 10             &kp O           &mt (F7) LC(S)  &kp D
&NukeAddNodeDance            &kp Q      &kp HOME        &kp UP_ARROW            &DualKey 5 END  &kp T                          &kp T        &kp HOME             &kp UP_ARROW       &kp END         &kp Q           &NukeAddNodeDance
&kp A                        &kp LC(Z)  &kp LEFT        &kp DOWN                &kp RIGHT       &NukeViewer                    &NukeViewer  &kp LEFT             &kp DOWN           &kp RIGHT       &kp LC(Z)       &kp A
&to 0                        &trans     &mt LEFT_ALT J  &mt LEFT_SHIFT K        &mt LCTRL L     &mt F H      &trans    &trans  &mt F H      &mt RIGHT_CONTROL J  &mt RIGHT_SHIFT K  &mt LEFT_ALT L  &kp Z           &to 0
                                                        &to 0                   &trans          &kp SPACE    &trans    &trans  &kp SPACE    &trans               &to 0
            >;

            label = "Nuke";
        };

        Plasticity {
            bindings = <
&kp EQUAL  &trans     &trans        &trans        &trans                        &trans                    &kp NUMBER_1  &kp NUMBER_2                  &kp NUMBER_3  &kp NUMBER_4    &kp N5     &kp EQUAL
&kp TAB    &kp Q      &DualKey 3 W  &DualKey 2 E  &Plasticity_R_mods_tap_dance  &kp T                     &kp T         &Plasticity_R_mods_tap_dance  &DualKey 2 E  &DualKey 3 W    &kp Q      &kp TAB
&UndoRedo  &kp A      &kp S         &kp D         &Plasticity_F_tapDance        &kp G                     &kp G         &Plasticity_F_tapDance        &kp D         &kp S           &kp A      &UndoRedo
&to 0      &kp SLASH  &mt LALT X    &mt LSHIFT C  &mt LCTRL V                   &kp B   &trans    &trans  &kp B         &mt LCTRL V                   &mt LSHIFT C  &mt LEFT_ALT X  &kp SLASH  &to 0
                                    &to 0         &trans                        &trans  &trans    &trans  &trans        &trans                        &to 0
            >;

            label = "Plasticity";
        };

        AfterEffects {
            bindings = <
&AE_search  &trans         &kp B               &mt LA(LC(B)) TAB     &kp N            &mt R T                               &mt R T             &kp B            &mt LC(LA(B)) TAB     &kp N               &kp MINUS      &kp EQUAL
&trans      &kp LS(LC(H))  &kp LS(HOME)        &kp LC(UP)            &kp LS(END)      &mt G Q                               &mt G Q             &kp LS(HOME)     &kp LC(UP)            &kp LS(END)         &kp LS(LC(H))  &kp PERIOD
&none       &UndoRedo      &kp PG_UP           &kp LC(DOWN)          &kp PG_DN        &mt V U                               &mt V U             &kp PG_UP        &kp LC(DOWN)          &kp PG_DN           &UndoRedo      &kp COMMA
&to 0       &kp F9         &mt LEFT_ALT SPACE  &mt LEFT_SHIFT SPACE  &mt LCTRL KP_N0  &mt QUESTION SLASH  &trans    &trans  &mt QUESTION SLASH  &mt LCTRL SPACE  &mt LEFT_SHIFT SPACE  &mt LEFT_ALT KP_N0  &kp F9         &to 0
                                               &to 0                 &trans           &trans              &trans    &trans  &trans              &trans           &to 0
            >;

            label = "AE";
        };

        QuickActions {
            bindings = <
&kp F13          &kp F14         &kp F15     &kp F16      &kp F17        &kp F18                    &kp F19  &kp F20        &kp F21      &kp F22    &kp F23         &kp F24
&kp LA(TAB)      &kp SCROLLLOCK  &kp INSERT  &trans       &trans         &trans                     &trans   &trans         &trans       &kp INS    &kp SCROLLLOCK  &kp LA(TAB)
&trans           &kp CAPS        &trans      &kp LA(TAB)  &kp LA(GRAVE)  &trans                     &trans   &kp RA(GRAVE)  &kp LA(TAB)  &UndoRedo  &kp CAPSLOCK    &trans
&kp LS(LA(TAB))  &kp LC(A)       &kp LC(X)   &kp LC(C)    &kp LC(V)      &trans   &trans    &trans  &trans   &kp LC(V)      &kp LC(C)    &kp LC(X)  &kp LC(A)       &kp LS(LA(TAB))
                                             &trans       &trans         &trans   &trans    &trans  &trans   &trans         &trans
            >;

            label = "Quick";
        };

        Nuke_Numbers {
            display-name = "NukeNum";
            bindings = <
&NukeAddNode       &kp F1     &kp I     &to 6             &kp O      &none                             &none         &kp I            &to 6                       &kp O            &NukeTapSaveRender  &kp D
&NukeAddNodeDance  &kp Q      &kp HOME  &kp UP_ARROW      &kp END    &NukeViewer                       &NukePointer  &kp KP_NUMBER_7  &kp KP_NUMBER_8             &kp KP_NUMBER_9  &kp Q               &NukeHomeEnd
&none              &UndoRedo  &kp LEFT  &kp DOWN_ARROW    &kp RIGHT  &NukeViewer                       &NukeViewer   &kp KP_NUMBER_4  &mt LEFT_SHIFT LOCKING_NUM  &kp KP_NUMBER_6  &UndoRedo           &none
&to 0              &kp Z      &kp J     &mt LEFT_SHIFT K  &kp L      &NukeFit     &trans    &trans     &NukeFit      &kp KP_NUMBER_1  &kp KP_NUMBER_2             &kp KP_NUMBER_3  &kp Z               &to 0
                                        &to 0             &trans     &trans       &trans    &kp ENTER  &kp KP_N0     &kp KP_DOT       &to 0
            >;
        };
    };
};
